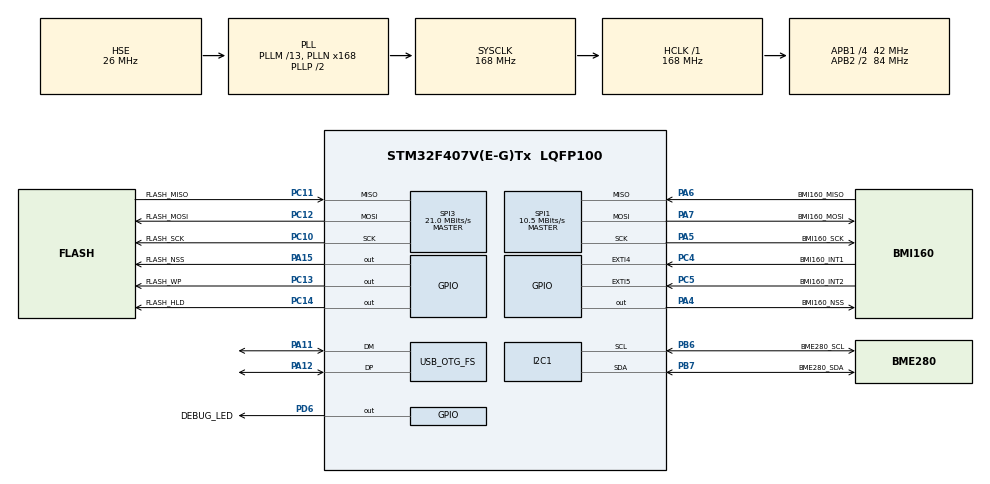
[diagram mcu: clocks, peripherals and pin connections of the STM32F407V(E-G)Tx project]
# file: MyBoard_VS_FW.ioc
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FREERTOS.INCLUDE_uxTaskGetStackHighWaterMark2=0
FREERTOS.Tasks01=usbTask,24,256,StartUsbTask,Default,NULL,Dynamic,NULL,NULL;bmi160Task,24,256,StartBmi160Task,Default,NULL,Dynamic,NULL,NULL;bme280Task,24,256,StartBme280Task,Default,NULL,Dynamic,NULL,NULL;ledTask,8,128,StartLedTask,Default,NULL,Dynamic,NULL,NULL;dataLoggerTask,24,512,StartDataLoggerTask,Default,NULL,Dynamic,NULL,NULL;monitorTask,24,128,StartMonitorTaskTask,Default,NULL,Dynamic,NULL,NULL
FREERTOS.configCHECK_FOR_STACK_OVERFLOW=2
FREERTOS.configENABLE_FPU=1
FREERTOS.configGENERATE_RUN_TIME_STATS=1
FREERTOS.configRECORD_STACK_HIGH_ADDRESS=1
FREERTOS.configUSE_IDLE_HOOK=1
FREERTOS.configUSE_MALLOC_FAILED_HOOK=1
FREERTOS.configUSE_NEWLIB_REENTRANT=1
FREERTOS.configUSE_STATS_FORMATTING_FUNCTIONS=1
Mcu.Family=STM32F4
Mcu.Name=STM32F407V(E-G)Tx
Mcu.Package=LQFP100
NVIC.EXTI4_IRQn=true\:5\:0\:false\:false\:true\:false\:true\:true\:true
NVIC.OTG_FS_IRQn=true\:5\:0\:false\:false\:true\:true\:false\:true\:true
NVIC.PriorityGroup=NVIC_PRIORITYGROUP_4
NVIC.RTC_WKUP_IRQn=true\:5\:0\:false\:false\:true\:true\:true\:true\:true
NVIC.TIM1_TRG_COM_TIM11_IRQn=true\:5\:0\:false\:false\:true\:true\:true\:true\:true
NVIC.TIM5_IRQn=true\:15\:0\:false\:false\:true\:false\:false\:true\:true
NVIC.TimeBase=TIM5_IRQn
NVIC.TimeBaseIP=TIM5
PA11.Mode=Device_Only
PA11.Signal=USB_OTG_FS_DM
PA12.Mode=Device_Only
PA12.Signal=USB_OTG_FS_DP
PA13.Mode=Trace_Asynchronous_SW
PA13.Signal=SYS_JTMS-SWDIO
PA14.Mode=Trace_Asynchronous_SW
PA14.Signal=SYS_JTCK-SWCLK
PA15.GPIO_Label=FLASH_NSS
PA15.Signal=GPIO_Output
PA4.GPIO_Label=BMI160_NSS
PA4.GPIO_PuPd=GPIO_NOPULL
PA4.Signal=GPIO_Output
PA5.GPIO_Label=BMI160_SCK
PA5.Mode=Full_Duplex_Master
PA5.Signal=SPI1_SCK
PA6.GPIO_Label=BMI160_MISO
PA6.Mode=Full_Duplex_Master
PA6.Signal=SPI1_MISO
PA7.GPIO_Label=BMI160_MOSI
PA7.Mode=Full_Duplex_Master
PA7.Signal=SPI1_MOSI
PB3.Mode=Trace_Asynchronous_SW
PB3.Signal=SYS_JTDO-SWO
PB6.GPIO_Label=BME280_SCL
PB6.GPIO_Pu=GPIO_PULLUP
PB6.Mode=I2C
PB6.Signal=I2C1_SCL
PB7.GPIO_Label=BME280_SDA
PB7.GPIO_Pu=GPIO_PULLUP
PB7.Mode=I2C
PB7.Signal=I2C1_SDA
PC10.GPIO_Label=FLASH_SCK
PC10.Mode=Full_Duplex_Master
PC10.Signal=SPI3_SCK
PC11.GPIO_Label=FLASH_MISO
PC11.Mode=Full_Duplex_Master
PC11.Signal=SPI3_MISO
PC12.GPIO_Label=FLASH_MOSI
PC12.Mode=Full_Duplex_Master
PC12.Signal=SPI3_MOSI
PC13-ANTI_TAMP.GPIO_Label=FLASH_WP
PC13-ANTI_TAMP.Signal=GPIO_Output
PC14-OSC32_IN.GPIO_Label=FLASH_HLD
PC14-OSC32_IN.Signal=GPIO_Output
PC4.GPIO_Label=BMI160_INT1
PC4.GPIO_PuPd=GPIO_PULLDOWN
PC4.Signal=GPXTI4
PC5.GPIO_Label=BMI160_INT2
PC5.GPIO_PuPd=GPIO_PULLDOWN
PC5.Signal=GPXTI5
PD6.GPIO_Label=DEBUG_LED
PD6.GPIO_PuPd=GPIO_NOPULL
PD6.Signal=GPIO_Output
PH0-OSC_IN.Mode=HSE-External-Oscillator
PH0-OSC_IN.Signal=RCC_OSC_IN
PH1-OSC_OUT.Mode=HSE-External-Oscillator
PH1-OSC_OUT.Signal=RCC_OSC_OUT
ProjectManager.HeapSize=0x200
ProjectManager.StackSize=0x400
ProjectManager.TargetToolchain=CMake
RCC.48MHZClocksFreq_Value=48000000
RCC.AHBFreq_Value=168000000
RCC.APB1CLKDivider=RCC_HCLK_DIV4
RCC.APB1Freq_Value=42000000
RCC.APB1TimFreq_Value=84000000
RCC.APB2CLKDivider=RCC_HCLK_DIV2
RCC.APB2Freq_Value=84000000
RCC.APB2TimFreq_Value=168000000
RCC.CortexFreq_Value=168000000
RCC.HCLKFreq_Value=168000000
RCC.HSE_VALUE=26000000
RCC.HSI_VALUE=16000000
RCC.LSE_VALUE=32768
RCC.PLLM=13
RCC.PLLN=168
RCC.PLLQ=7
RCC.SYSCLKFreq_VALUE=168000000
RCC.SYSCLKSource=RCC_SYSCLKSOURCE_PLLCLK
RCC.VCOOutputFreq_Value=336000000
RTC.WakeUpClock=RTC_WAKEUPCLOCK_CK_SPRE_16BITS
RTC.WakeUpCounter=600
SPI1.BaudRatePrescaler=SPI_BAUDRATEPRESCALER_8
SPI1.CalculateBaudRate=10.5 MBits/s
SPI1.Direction=SPI_DIRECTION_2LINES
SPI1.Mode=SPI_MODE_MASTER
SPI1.VirtualType=VM_MASTER
SPI3.BaudRatePrescaler=SPI_BAUDRATEPRESCALER_2
SPI3.CalculateBaudRate=21.0 MBits/s
SPI3.Direction=SPI_DIRECTION_2LINES
SPI3.Mode=SPI_MODE_MASTER
SPI3.VirtualType=VM_MASTER
TIM11.AutoReloadPreload=TIM_AUTORELOAD_PRELOAD_ENABLE
TIM11.Period=99
TIM11.Prescaler=167
TIM8.Prescaler=83
USB_DEVICE.CLASS_NAME_FS=CDC
USB_DEVICE.USBD_DEBUG_LEVEL-CDC_FS=3
USB_DEVICE.VirtualMode-CDC_FS=Cdc
USB_DEVICE.VirtualModeFS=Cdc_FS
USB_OTG_FS.VirtualMode=Device_Only
VP_FREERTOS_VS_CMSIS_V2.Mode=CMSIS_V2
VP_RTC_VS_RTC_Activate.Mode=RTC_Enabled
VP_RTC_VS_RTC_WakeUp_intern.Mode=WakeUp
VP_SYS_VS_tim5.Mode=TIM5
VP_TIM11_VS_ClockSourceINT.Mode=Enable_Timer
VP_TIM8_VS_ClockSourceINT.Mode=Internal
VP_USB_DEVICE_VS_USB_DEVICE_CDC_FS.Mode=CDC_FS
board=custom

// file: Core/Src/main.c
/* USER CODE BEGIN Header */
/* USER CODE END Header */
#include "main.h"
#include "cmsis_os.h"

/* USER CODE BEGIN Includes */
#include "usb_device.h"
#include "usbd_cdc_if.h"
#include "bmi160.h"
#include "bmi160_wrappers.h"
#include "bme280.h"
#include "bme280_wrappers.h"
#include "w25q128jv.h"
#include "lfs.h"
#include "lfs_w25q128.h"
/* USER CODE END Includes */

/* USER CODE BEGIN PTD */
struct bmi160_sensor_data_real
{
  //Acc
  float ax ;
  float ay ;
  float az ;
  //Gyro
  float gx ;
  float gy ;
  float gz ;
};
/* USER CODE END PTD */

/* USER CODE BEGIN PD */
#define LOG_INTERVAL  UINT16_C(25)
/* USER CODE END PD */

I2C_HandleTypeDef hi2c1;

RTC_HandleTypeDef hrtc;

SPI_HandleTypeDef hspi1;
SPI_HandleTypeDef hspi3;

TIM_HandleTypeDef htim8;
TIM_HandleTypeDef htim11;

/* Definitions for usbTask */
osThreadId_t usbTaskHandle;
const osThreadAttr_t usbTask_attributes = {
  .name = "usbTask",
  .stack_size = 256 * 4,
  .priority = (osPriority_t) osPriorityNormal,
};
/* Definitions for bmi160Task */
osThreadId_t bmi160TaskHandle;
const osThreadAttr_t bmi160Task_attributes = {
  .name = "bmi160Task",
  .stack_size = 256 * 4,
  .priority = (osPriority_t) osPriorityNormal,
};
/* Definitions for bme280Task */
osThreadId_t bme280TaskHandle;
const osThreadAttr_t bme280Task_attributes = {
  .name = "bme280Task",
  .stack_size = 256 * 4,
  .priority = (osPriority_t) osPriorityNormal,
};
/* Definitions for ledTask */
osThreadId_t ledTaskHandle;
const osThreadAttr_t ledTask_attributes = {
  .name = "ledTask",
  .stack_size = 128 * 4,
  .priority = (osPriority_t) osPriorityLow,
};
/* Definitions for dataLoggerTask */
osThreadId_t dataLoggerTaskHandle;
const osThreadAttr_t dataLoggerTask_attributes = {
  .name = "dataLoggerTask",
  .stack_size = 512 * 4,
  .priority = (osPriority_t) osPriorityNormal,
};
/* Definitions for monitorTask */
osThreadId_t monitorTaskHandle;
const osThreadAttr_t monitorTask_attributes = {
  .name = "monitorTask",
  .stack_size = 128 * 4,
  .priority = (osPriority_t) osPriorityNormal,
};
/* USER CODE BEGIN PV */
/*! Timer for freertos task profiling */
volatile unsigned long ulHighFrequencyTimerTicks = 0;

uint8_t u8LedActivity = 0;

struct bmi160_dev bmi160;
struct bmi160_sensor_data_real accel_gyro;

struct bme280_dev bme280;
struct bme280_settings settings;
struct bme280_data comp_data;

struct w25q128jv_dev w25q128jv;

// variables used by the filesystem
extern const struct lfs_config cfg;
lfs_t lfs;

uint8_t closeFilesRequest = 0;
/* USER CODE END PV */

void SystemClock_Config(void);
static void MX_GPIO_Init(void);
static void MX_I2C1_Init(void);
static void MX_SPI1_Init(void);
static void MX_SPI3_Init(void);
static void MX_TIM11_Init(void);
static void MX_TIM8_Init(void);
static void MX_RTC_Init(void);
void StartUsbTask(void *argument);
void StartBmi160Task(void *argument);
void StartBme280Task(void *argument);
void StartLedTask(void *argument);
void StartDataLoggerTask(void *argument);
void StartMonitorTaskTask(void *argument);

/* USER CODE BEGIN PFP */
static uint8_t bme280_get_data(uint32_t period, struct bme280_dev *dev);
static uint8_t bmi160_get_data(uint8_t select_sensor, struct bmi160_sensor_data_real *accel_gyro, const struct bmi160_dev *dev);
/* USER CODE END PFP */

/* USER CODE BEGIN 0 */

int _write(int file, char *ptr, int len)
{
  CDC_Transmit_FS((uint8_t *)ptr, len);  // Send data via USB CDC
  return len;
}

/*!
 *  @brief This internal API is used to get compensated humidity data.
 */
static uint8_t bme280_get_data(uint32_t period, struct bme280_dev *dev)
{
    uint8_t rslt = BME280_E_NULL_PTR;
    uint8_t status_reg;

    rslt = bme280_get_regs(BME280_REG_STATUS, &status_reg, 1, dev);
    if (status_reg & BME280_STATUS_MEAS_DONE)
    {
        /* Measurement time delay given to read sample */
        dev->delay_us(period);

        /* Read compensated data */
        rslt = bme280_get_sensor_data(BME280_ALL, &comp_data, dev);

#ifndef BME280_DOUBLE_ENABLE
        comp_data.humidity = comp_data.humidity / 1000;
        comp_data.temperature = comp_data.temperature / 100;
#endif
    }

    return rslt;
}

static uint8_t bmi160_get_data(uint8_t select_sensor, struct bmi160_sensor_data_real *accel_gyro, const struct bmi160_dev *dev)
{
  uint8_t rslt = BMI160_E_NULL_PTR;
  struct bmi160_sensor_data accel = {0};
  struct bmi160_sensor_data gyro = {0};

  rslt = bmi160_get_sensor_data(select_sensor, &accel, &gyro, dev);
  if(rslt == BMI160_OK)
  {
    accel_gyro->ax = (float)(accel.x * 9.8) / 16384;
    accel_gyro->ay = (float)(accel.y * 9.8) / 16384;
    accel_gyro->az = (float)(accel.z * 9.8) / 16384;
    accel_gyro->gx = (float)(gyro.x * 2000)/0x8000;
    accel_gyro->gy = (float)(gyro.y * 2000)/0x8000;
    accel_gyro->gz = (float)(gyro.z * 2000)/0x8000;
  }

  return rslt;
}

void HAL_Delay_us(uint32_t us)
{
    uint32_t tickstart = __HAL_TIM_GET_COUNTER(&htim8);  // Get current counter value
    uint32_t wait = us;

    while((__HAL_TIM_GET_COUNTER(&htim8) - tickstart) < wait)
    {
    }
}

static void lfs_static_test(void) {
  int err;
  uint8_t write_buffer[256];
  uint8_t read_buffer[256];

  // Step 1: Mount the filesystem
  err = lfs_mount(&lfs, &cfg);
  if (err) {
      // Step 2: Reformat if mounting fails
      printf("Filesystem mount failed, formatting...\n");
      lfs_format(&lfs, &cfg);
      err = lfs_mount(&lfs, &cfg);
      if (err) {
          printf("Failed to mount filesystem after formatting\n");
          return;
      }
  }
  printf("Filesystem mounted successfully\n");

  // Step 3: Prepare test data
  for (int i = 0; i < 256; i++) {
      write_buffer[i] = i;  // Filling with 0x00, 0x01, ..., 0xFF
  }

  // Step 4: Open the file for writing
  lfs_file_t file;
  err = lfs_file_open(&lfs, &file, "test", LFS_O_RDWR | LFS_O_CREAT);
  if (err < 0) {
      printf("Failed to open file for writing\n");
      return;
  }

  // Step 5: Write 256 bytes to the file
  err = lfs_file_write(&lfs, &file, write_buffer, 256);
  if (err < 0) {
      printf("Failed to write to file\n");
      lfs_file_close(&lfs, &file);
      return;
  }

  // Step 6: Close the file
  err = lfs_file_close(&lfs, &file);
  if (err < 0) {
      printf("Failed to close file\n");
      return;
  }

  printf("Data written successfully\n");

  // Step 7: Open the file for reading
  err = lfs_file_open(&lfs, &file, "test", LFS_O_RDONLY);
  if (err < 0) {
      printf("Failed to open file for reading\n");
      return;
  }

  // Step 8: Read 256 bytes from the file
  memset(read_buffer, 0, sizeof(read_buffer)); // Clear buffer
  err = lfs_file_read(&lfs, &file, read_buffer, 256);
  if (err < 0) {
      printf("Failed to read from file\n");
      lfs_file_close(&lfs, &file);
      return;
  }

  // Step 9: Compare read data with written data
  if (memcmp(write_buffer, read_buffer, 256) == 0) {
      printf("Data verification successful: Read matches written data\n");
  } else {
      printf("Data mismatch: Read data is different from written data!\n");
  }

  // Step 10: Close the file
  err = lfs_file_close(&lfs, &file);
  if (err < 0) {
      printf("Failed to close file after reading\n");
      return;
  }

  // Step 11: Delete (remove) the file
  err = lfs_remove(&lfs, "test");
  if (err < 0) {
      printf("Failed to delete file\n");
      return;
  }

  printf("File deleted successfully\n");

  // Step 12: Try to open the deleted file (should fail)
  err = lfs_file_open(&lfs, &file, "test", LFS_O_RDONLY);
  if (err < 0) {
      printf("File correctly does not exist after deletion\n");
  } else {
      printf("Error: File still exists after deletion!\n");
      lfs_file_close(&lfs, &file);
  }

  // Step 13: Unmount the filesystem
  err = lfs_unmount(&lfs);
  if (err < 0) {
      printf("Failed to unmount filesystem\n");
      return;
  }

  printf("Filesystem unmounted successfully\n");
}

void enter_standby_mode(void)
{
  // Stop all tasks (except Idle task)
  vTaskSuspendAll();

  // Disable Peripherals
  HAL_GPIO_WritePin(DEBUG_LED_GPIO_Port, DEBUG_LED_Pin, GPIO_PIN_RESET);
  HAL_SPI_DeInit(&hspi1);
  HAL_SPI_DeInit(&hspi3);
  HAL_I2C_DeInit(&hi2c1);

  // Clear any wakeup flag
  __HAL_PWR_CLEAR_FLAG(PWR_FLAG_WU);

  HAL_RTCEx_SetWakeUpTimer_IT(&hrtc, (60 *5), RTC_WAKEUPCLOCK_CK_SPRE_16BITS);

  // Enter Standby mode
  HAL_PWR_EnterSTANDBYMode();
}

/**
  * @brief  Wakeup Timer callback.
  * @param  hrtc pointer to a RTC_HandleTypeDef structure that contains
  *                the configuration information for RTC.
  * @retval None
  */
 void HAL_RTCEx_WakeUpTimerEventCallback(RTC_HandleTypeDef *hrtc)
 {
   /* Prevent unused argument(s) compilation warning */
   UNUSED(hrtc);

   __HAL_RTC_WAKEUPTIMER_CLEAR_FLAG(hrtc, RTC_FLAG_WUTF);  // Clear RTC wakeup flag
    HAL_RTCEx_DeactivateWakeUpTimer(hrtc);  // Stop wakeup timer (optional)
   printf("System woke up from Standby or Stop mode.\n");
 }

 void read_and_send_file(const char *filename)
 {
  int err;
  char buffer[128];  // Buffer to hold the data read from the file
  int bytes_read;
  lfs_file_t file;

  // Mount the filesystem (if not already mounted)
  err = lfs_mount(&lfs, &cfg);
  if (err < 0) {
      printf("Error mounting filesystem\n");
      fflush(stdout);
      return;
  }

  // Open the file in read-only mode
  err = lfs_file_open(&lfs, &file, filename, LFS_O_RDONLY);
  if (err < 0) {
      printf("Error opening file %s\n", filename);
      fflush(stdout);
      return;
  }

  // Read the file contents
  while ((bytes_read = lfs_file_read(&lfs, &file, buffer, sizeof(buffer))) > 0) {
      // Print data efficiently
      fwrite(buffer, 1, bytes_read, stdout);
      fflush(stdout);  // Ensure immediate output
  }

  // Check if there was an error while reading
  if (bytes_read < 0) {
      printf("Error reading file\n");
      fflush(stdout);
  }

  // Close the file
  lfs_file_close(&lfs, &file);
  lfs_unmount(&lfs);
}

/* USER CODE END 0 */

int main(void)
{

  /* MCU Configuration--------------------------------------------------------*/

  /* Reset of all peripherals, Initializes the Flash interface and the Systick. */
  HAL_Init();

  /* Configure the system clock */
  SystemClock_Config();

  /* Initialize all configured peripherals */
  MX_GPIO_Init();
  MX_I2C1_Init();
  MX_SPI1_Init();
  MX_SPI3_Init();
  MX_TIM11_Init();
  MX_TIM8_Init();
  MX_RTC_Init();
  /* USER CODE BEGIN 2 */
  MX_USB_DEVICE_Init();
  HAL_Delay(1000); // Wait 1 second before printing
  printf("System Started...\n");
  W25Q128JV_interface_Init(&w25q128jv, &hspi3, FLASH_NSS_GPIO_Port, FLASH_NSS_Pin, FLASH_WP_GPIO_Port, FLASH_WP_Pin, FLASH_HLD_GPIO_Port, FLASH_HLD_Pin);
  W25Q128JV_Init(&w25q128jv);
  W25Q128JV_ReadJedecID(&w25q128jv);
  W25Q128JV_ReadUniqueID(&w25q128jv);

  // Read the file and send its contents to the terminal
  printf("Downloading file bmi160_data\n");
  read_and_send_file("bmi160_data");
  printf("Finished Downloading file bmi160_data\n");
  // Read the file and send its contents to the terminal
  printf("Downloading file bmi280_data\n");
  read_and_send_file("bme280_data");
  printf("Finished Downloading file bmi280_data\n");
  //lfs_format(&lfs, &cfg);
  /* USER CODE END 2 */

  /* Init scheduler */
  osKernelInitialize();

  /* Create the thread(s) */
  /* creation of usbTask */
  usbTaskHandle = osThreadNew(StartUsbTask, NULL, &usbTask_attributes);

  /* creation of bmi160Task */
  bmi160TaskHandle = osThreadNew(StartBmi160Task, NULL, &bmi160Task_attributes);

  /* creation of bme280Task */
  bme280TaskHandle = osThreadNew(StartBme280Task, NULL, &bme280Task_attributes);

  /* creation of ledTask */
  ledTaskHandle = osThreadNew(StartLedTask, NULL, &ledTask_attributes);

  /* creation of dataLoggerTask */
  dataLoggerTaskHandle = osThreadNew(StartDataLoggerTask, NULL, &dataLoggerTask_attributes);

  /* creation of monitorTask */
  monitorTaskHandle = osThreadNew(StartMonitorTaskTask, NULL, &monitorTask_attributes);

  /* Start scheduler */
  osKernelStart();

  /* We should never get here as control is now taken by the scheduler */

  /* Infinite loop */

}

void SystemClock_Config(void)
{
  RCC_OscInitTypeDef RCC_OscInitStruct = {0};
  RCC_ClkInitTypeDef RCC_ClkInitStruct = {0};

  /** Configure the main internal regulator output voltage
  */
  __HAL_RCC_PWR_CLK_ENABLE();
  __HAL_PWR_VOLTAGESCALING_CONFIG(PWR_REGULATOR_VOLTAGE_SCALE1);

  /** Initializes the RCC Oscillators according to the specified parameters
  * in the RCC_OscInitTypeDef structure.
  */
  RCC_OscInitStruct.OscillatorType = RCC_OSCILLATORTYPE_LSI|RCC_OSCILLATORTYPE_HSE;
  RCC_OscInitStruct.HSEState = RCC_HSE_ON;
  RCC_OscInitStruct.LSIState = RCC_LSI_ON;
  RCC_OscInitStruct.PLL.PLLState = RCC_PLL_ON;
  RCC_OscInitStruct.PLL.PLLSource = RCC_PLLSOURCE_HSE;
  RCC_OscInitStruct.PLL.PLLM = 13;
  RCC_OscInitStruct.PLL.PLLN = 168;
  RCC_OscInitStruct.PLL.PLLP = RCC_PLLP_DIV2;
  RCC_OscInitStruct.PLL.PLLQ = 7;
  if (HAL_RCC_OscConfig(&RCC_OscInitStruct) != HAL_OK)
  {
    Error_Handler();
  }

  /** Initializes the CPU, AHB and APB buses clocks
  */
  RCC_ClkInitStruct.ClockType = RCC_CLOCKTYPE_HCLK|RCC_CLOCKTYPE_SYSCLK
                              |RCC_CLOCKTYPE_PCLK1|RCC_CLOCKTYPE_PCLK2;
  RCC_ClkInitStruct.SYSCLKSource = RCC_SYSCLKSOURCE_PLLCLK;
  RCC_ClkInitStruct.AHBCLKDivider = RCC_SYSCLK_DIV1;
  RCC_ClkInitStruct.APB1CLKDivider = RCC_HCLK_DIV4;
  RCC_ClkInitStruct.APB2CLKDivider = RCC_HCLK_DIV2;

  if (HAL_RCC_ClockConfig(&RCC_ClkInitStruct, FLASH_LATENCY_5) != HAL_OK)
  {
    Error_Handler();
  }
}

static void MX_I2C1_Init(void)
{

  hi2c1.Instance = I2C1;
  hi2c1.Init.ClockSpeed = 100000;
  hi2c1.Init.DutyCycle = I2C_DUTYCYCLE_2;
  hi2c1.Init.OwnAddress1 = 0;
  hi2c1.Init.AddressingMode = I2C_ADDRESSINGMODE_7BIT;
  hi2c1.Init.DualAddressMode = I2C_DUALADDRESS_DISABLE;
  hi2c1.Init.OwnAddress2 = 0;
  hi2c1.Init.GeneralCallMode = I2C_GENERALCALL_DISABLE;
  hi2c1.Init.NoStretchMode = I2C_NOSTRETCH_DISABLE;
  if (HAL_I2C_Init(&hi2c1) != HAL_OK)
  {
    Error_Handler();
  }

}

static void MX_RTC_Init(void)
{

  RTC_TimeTypeDef sTime = {0};
  RTC_DateTypeDef sDate = {0};

  /** Initialize RTC Only
  */
  hrtc.Instance = RTC;
  hrtc.Init.HourFormat = RTC_HOURFORMAT_24;
  hrtc.Init.AsynchPrediv = 127;
  hrtc.Init.SynchPrediv = 255;
  hrtc.Init.OutPut = RTC_OUTPUT_DISABLE;
  hrtc.Init.OutPutPolarity = RTC_OUTPUT_POLARITY_HIGH;
  hrtc.Init.OutPutType = RTC_OUTPUT_TYPE_OPENDRAIN;
  if (HAL_RTC_Init(&hrtc) != HAL_OK)
  {
    Error_Handler();
  }

  /** Initialize RTC and set the Time and Date
  */
  sTime.Hours = 0x0;
  sTime.Minutes = 0x0;
  sTime.Seconds = 0x0;
  sTime.DayLightSaving = RTC_DAYLIGHTSAVING_NONE;
  sTime.StoreOperation = RTC_STOREOPERATION_RESET;
  if (HAL_RTC_SetTime(&hrtc, &sTime, RTC_FORMAT_BCD) != HAL_OK)
  {
    Error_Handler();
  }
  sDate.WeekDay = RTC_WEEKDAY_MONDAY;
  sDate.Month = RTC_MONTH_JANUARY;
  sDate.Date = 0x1;
  sDate.Year = 0x0;

  if (HAL_RTC_SetDate(&hrtc, &sDate, RTC_FORMAT_BCD) != HAL_OK)
  {
    Error_Handler();
  }

  /** Enable the WakeUp
  */
  if (HAL_RTCEx_SetWakeUpTimer_IT(&hrtc, 600, RTC_WAKEUPCLOCK_CK_SPRE_16BITS) != HAL_OK)
  {
    Error_Handler();
  }
  /* USER CODE BEGIN RTC_Init 2 */
  HAL_RTCEx_DeactivateWakeUpTimer(&hrtc);
  /* USER CODE END RTC_Init 2 */

}

static void MX_SPI1_Init(void)
{

  /* SPI1 parameter configuration*/
  hspi1.Instance = SPI1;
  hspi1.Init.Mode = SPI_MODE_MASTER;
  hspi1.Init.Direction = SPI_DIRECTION_2LINES;
  hspi1.Init.DataSize = SPI_DATASIZE_8BIT;
  hspi1.Init.CLKPolarity = SPI_POLARITY_LOW;
  hspi1.Init.CLKPhase = SPI_PHASE_1EDGE;
  hspi1.Init.NSS = SPI_NSS_SOFT;
  hspi1.Init.BaudRatePrescaler = SPI_BAUDRATEPRESCALER_8;
  hspi1.Init.FirstBit = SPI_FIRSTBIT_MSB;
  hspi1.Init.TIMode = SPI_TIMODE_DISABLE;
  hspi1.Init.CRCCalculation = SPI_CRCCALCULATION_DISABLE;
  hspi1.Init.CRCPolynomial = 10;
  if (HAL_SPI_Init(&hspi1) != HAL_OK)
  {
    Error_Handler();
  }

}

static void MX_SPI3_Init(void)
{

  /* SPI3 parameter configuration*/
  hspi3.Instance = SPI3;
  hspi3.Init.Mode = SPI_MODE_MASTER;
  hspi3.Init.Direction = SPI_DIRECTION_2LINES;
  hspi3.Init.DataSize = SPI_DATASIZE_8BIT;
  hspi3.Init.CLKPolarity = SPI_POLARITY_LOW;
  hspi3.Init.CLKPhase = SPI_PHASE_1EDGE;
  hspi3.Init.NSS = SPI_NSS_SOFT;
  hspi3.Init.BaudRatePrescaler = SPI_BAUDRATEPRESCALER_2;
  hspi3.Init.FirstBit = SPI_FIRSTBIT_MSB;
  hspi3.Init.TIMode = SPI_TIMODE_DISABLE;
  hspi3.Init.CRCCalculation = SPI_CRCCALCULATION_DISABLE;
  hspi3.Init.CRCPolynomial = 10;
  if (HAL_SPI_Init(&hspi3) != HAL_OK)
  {
    Error_Handler();
  }

}

static void MX_TIM8_Init(void)
{

  TIM_ClockConfigTypeDef sClockSourceConfig = {0};
  TIM_MasterConfigTypeDef sMasterConfig = {0};

  htim8.Instance = TIM8;
  htim8.Init.Prescaler = 83;
  htim8.Init.CounterMode = TIM_COUNTERMODE_UP;
  htim8.Init.Period = 65535;
  htim8.Init.ClockDivision = TIM_CLOCKDIVISION_DIV1;
  htim8.Init.RepetitionCounter = 0;
  htim8.Init.AutoReloadPreload = TIM_AUTORELOAD_PRELOAD_DISABLE;
  if (HAL_TIM_Base_Init(&htim8) != HAL_OK)
  {
    Error_Handler();
  }
  sClockSourceConfig.ClockSource = TIM_CLOCKSOURCE_INTERNAL;
  if (HAL_TIM_ConfigClockSource(&htim8, &sClockSourceConfig) != HAL_OK)
  {
    Error_Handler();
  }
  sMasterConfig.MasterOutputTrigger = TIM_TRGO_RESET;
  sMasterConfig.MasterSlaveMode = TIM_MASTERSLAVEMODE_DISABLE;
  if (HAL_TIMEx_MasterConfigSynchronization(&htim8, &sMasterConfig) != HAL_OK)
  {
    Error_Handler();
  }
  /* USER CODE BEGIN TIM8_Init 2 */
  HAL_TIM_Base_Start(&htim8);
  /* USER CODE END TIM8_Init 2 */

}

static void MX_TIM11_Init(void)
{

  htim11.Instance = TIM11;
  htim11.Init.Prescaler = 167;
  htim11.Init.CounterMode = TIM_COUNTERMODE_UP;
  htim11.Init.Period = 99;
  htim11.Init.ClockDivision = TIM_CLOCKDIVISION_DIV1;
  htim11.Init.AutoReloadPreload = TIM_AUTORELOAD_PRELOAD_ENABLE;
  if (HAL_TIM_Base_Init(&htim11) != HAL_OK)
  {
    Error_Handler();
  }
  /* USER CODE BEGIN TIM11_Init 2 */
  HAL_NVIC_SetPriority(TIM1_TRG_COM_TIM11_IRQn, 5, 0);
  HAL_NVIC_EnableIRQ(TIM1_TRG_COM_TIM11_IRQn);
  /* USER CODE END TIM11_Init 2 */

}

static void MX_GPIO_Init(void)
{
  GPIO_InitTypeDef GPIO_InitStruct = {0};

  /* GPIO Ports Clock Enable */
  __HAL_RCC_GPIOC_CLK_ENABLE();
  __HAL_RCC_GPIOH_CLK_ENABLE();
  __HAL_RCC_GPIOA_CLK_ENABLE();
  __HAL_RCC_GPIOD_CLK_ENABLE();
  __HAL_RCC_GPIOB_CLK_ENABLE();

  /*Configure GPIO pin Output Level */
  HAL_GPIO_WritePin(GPIOC, FLASH_WP_Pin|FLASH_HLD_Pin, GPIO_PIN_RESET);

  /*Configure GPIO pin Output Level */
  HAL_GPIO_WritePin(GPIOA, BMI160_NSS_Pin|FLASH_NSS_Pin, GPIO_PIN_RESET);

  /*Configure GPIO pin Output Level */
  HAL_GPIO_WritePin(DEBUG_LED_GPIO_Port, DEBUG_LED_Pin, GPIO_PIN_RESET);

  /*Configure GPIO pins : FLASH_WP_Pin FLASH_HLD_Pin */
  GPIO_InitStruct.Pin = FLASH_WP_Pin|FLASH_HLD_Pin;
  GPIO_InitStruct.Mode = GPIO_MODE_OUTPUT_PP;
  GPIO_InitStruct.Pull = GPIO_NOPULL;
  GPIO_InitStruct.Speed = GPIO_SPEED_FREQ_LOW;
  HAL_GPIO_Init(GPIOC, &GPIO_InitStruct);

  /*Configure GPIO pins : BMI160_NSS_Pin FLASH_NSS_Pin */
  GPIO_InitStruct.Pin = BMI160_NSS_Pin|FLASH_NSS_Pin;
  GPIO_InitStruct.Mode = GPIO_MODE_OUTPUT_PP;
  GPIO_InitStruct.Pull = GPIO_NOPULL;
  GPIO_InitStruct.Speed = GPIO_SPEED_FREQ_LOW;
  HAL_GPIO_Init(GPIOA, &GPIO_InitStruct);

  /*Configure GPIO pins : BMI160_INT1_Pin BMI160_INT2_Pin */
  GPIO_InitStruct.Pin = BMI160_INT1_Pin|BMI160_INT2_Pin;
  GPIO_InitStruct.Mode = GPIO_MODE_IT_RISING;
  GPIO_InitStruct.Pull = GPIO_PULLDOWN;
  HAL_GPIO_Init(GPIOC, &GPIO_InitStruct);

  /*Configure GPIO pin : DEBUG_LED_Pin */
  GPIO_InitStruct.Pin = DEBUG_LED_Pin;
  GPIO_InitStruct.Mode = GPIO_MODE_OUTPUT_PP;
  GPIO_InitStruct.Pull = GPIO_NOPULL;
  GPIO_InitStruct.Speed = GPIO_SPEED_FREQ_LOW;
  HAL_GPIO_Init(DEBUG_LED_GPIO_Port, &GPIO_InitStruct);

  /* EXTI interrupt init*/
  HAL_NVIC_SetPriority(EXTI4_IRQn, 5, 0);
  HAL_NVIC_EnableIRQ(EXTI4_IRQn);

}

void StartUsbTask(void *argument)
{
  /* USER CODE BEGIN 5 */
  UNUSED(argument);
  /* Infinite loop */
  for(;;)
  {
    //printf("Temp: %.2fdC, Pressure: %.2fhPa, Humidity: %.2f%%\n",
    //        (float)comp_data.temperature, (float)comp_data.pressure / 100.0, (float)comp_data.humidity);
    //printf("Accel (g): X=%.2f Y=%.2f Z=%.2f | Gyro (d/s): X=%.2f Y=%.2f Z=%.2f\n",
    //       accel_gyro.ax, accel_gyro.ay, accel_gyro.az, accel_gyro.gx, accel_gyro.gy, accel_gyro.gz);
    osDelay(500);
  }
  /* USER CODE END 5 */
}

void StartBmi160Task(void *argument)
{
  /* USER CODE BEGIN StartBmi160Task */
  uint8_t rslt = 0;

  UNUSED(argument);
  rslt =  bmi160_interface_init(&bmi160, &hspi1, BMI160_NSS_GPIO_Port, BMI160_NSS_Pin);
  rslt += bmi160_init(&bmi160);

  bmi160.accel_cfg.bw     = BMI160_ACCEL_BW_NORMAL_AVG4;
  bmi160.accel_cfg.odr    = BMI160_ACCEL_ODR_100HZ;
  bmi160.accel_cfg.range  = BMI160_ACCEL_RANGE_2G;
  bmi160.accel_cfg.power  = BMI160_ACCEL_NORMAL_MODE;

  bmi160.gyro_cfg.bw      = BMI160_GYRO_BW_NORMAL_MODE;
  bmi160.gyro_cfg.odr     = BMI160_GYRO_ODR_100HZ;
  bmi160.gyro_cfg.range   = BMI160_GYRO_RANGE_2000_DPS;
  bmi160.gyro_cfg.power   = BMI160_GYRO_NORMAL_MODE;

  rslt += bmi160_set_sens_conf(&bmi160);
  rslt += bmi160_get_sens_conf(&bmi160);
  rslt += bmi160_get_power_mode(&bmi160);
  if (rslt)
  {
    printf("BMI160 initialization failed with error code %i\n", rslt);
  }
  else
  {
    printf("BMI160 initialization succeeded\n");
  }

  /* Infinite loop */
  for(;;)
  {
    if(rslt == BMI160_OK)
    {
      bmi160_get_data(BMI160_BOTH_ACCEL_AND_GYRO|BMI160_TIME_SEL, &accel_gyro, &bmi160);
    }
    else
    {
      Error_Handler();
    }

    osDelay(1000);
  }
  /* USER CODE END StartBmi160Task */
}

void StartBme280Task(void *argument)
{
  /* USER CODE BEGIN StartBme280Task */
  uint8_t rslt = 0;
  uint32_t period;

  UNUSED(argument);
  bme280.dma_reading_trig = 0;
  bme280.dma_reading_req = 0;
  rslt = bme280_interface_init(&bme280, &hi2c1);
  rslt +=bme280_init(&bme280);
  rslt += bme280_get_sensor_settings(&settings, &bme280);
  /* Configuring the over-sampling rate, filter coefficient and standby time */
  /* Overwrite the desired settings */
  settings.filter = BME280_FILTER_COEFF_8;

  /* Over-sampling rate for humidity, temperature and pressure */
  settings.osr_h = BME280_OVERSAMPLING_8X;
  settings.osr_p = BME280_OVERSAMPLING_8X;
  settings.osr_t = BME280_OVERSAMPLING_8X;

  /* Setting the standby time */
  settings.standby_time = BME280_STANDBY_TIME_500_MS;

  rslt += bme280_set_sensor_settings(BME280_SEL_ALL_SETTINGS, &settings, &bme280);

  /* Always set the power mode after setting the configuration */
  rslt += bme280_set_sensor_mode(BME280_POWERMODE_NORMAL, &bme280);
  rslt += bme280_cal_meas_delay(&period, &settings);
  if (rslt)
  {
    printf("BME280 initialization failed with error code %i\n", rslt);
  }
  else
  {
    printf("BME280 initialization succeeded\n");
  }

  /* Infinite loop */
  for(;;)
  {
    if(rslt == BMI160_OK)
    {
      bme280_get_data(period, &bme280);
    }
    else
    {
      Error_Handler();
    }

    osDelay(1000);
  }
  /* USER CODE END StartBme280Task */
}

void StartLedTask(void *argument)
{
  /* USER CODE BEGIN StartLedTask */
  UNUSED(argument);
  /* Infinite loop */
  for(;;)
  {
    HAL_GPIO_WritePin(DEBUG_LED_GPIO_Port, DEBUG_LED_Pin, GPIO_PIN_SET);
    osDelay(100);
    HAL_GPIO_WritePin(DEBUG_LED_GPIO_Port, DEBUG_LED_Pin, GPIO_PIN_RESET);

    osDelay(4900);
  }
  /* USER CODE END StartLedTask */
}

void StartDataLoggerTask(void *argument)
{
  /* USER CODE BEGIN StartDataLoggerTask */
  UNUSED(argument);
  lfs_file_t bme280_file;
  lfs_file_t bmi160_file;
  lfs_soff_t file_size;
  uint16_t log_count = 0;
  int err = 0;

  //Mount the filesystem
  err = lfs_mount(&lfs, &cfg);

  if (err)
  {
    // Reformat if mounting fails
    printf("Filesystem mount failed, formatting...\n");
    lfs_format(&lfs, &cfg);
    err = lfs_mount(&lfs, &cfg);
    if (err)
    {
      printf("Failed to mount filesystem after formatting\n");
      Error_Handler();
    }
    else
    {
      printf("Filesystem mounted successfully\n");
    }
  }
  else
  {
    printf("Filesystem mounted successfully\n");
  }

  //Open the files for writing
  err = lfs_file_open(&lfs, &bme280_file, "bme280_data", LFS_O_RDWR | LFS_O_CREAT);
  if (err < 0)
  {
    printf("Failed to open bme280 file for writing\n");
    Error_Handler();
  }
  else
  {
    printf("Succeeded to open bme280 file for writing\n");
  }
  fflush(stdout);
  // Get the file size using lfs_file_size()
  file_size = lfs_file_size(&lfs, &bme280_file);
  printf("bme280 file size:: %ld\n", file_size);
  err = lfs_file_open(&lfs, &bmi160_file, "bmi160_data", LFS_O_RDWR | LFS_O_CREAT);
  if (err < 0)
  {
    printf("Failed to open bmi160 file for writing\n");
    Error_Handler();
  }
  else
  {
    printf("Succeeded to open bmi160 file for writing\n");
  }
  // Get the file size using lfs_file_size()
  file_size = lfs_file_size(&lfs, &bmi160_file);
  printf("bmi160 file size: %ld\n", file_size);
  /* Infinite loop */
  for(;;)
  {
    if (closeFilesRequest == 0)
    {
      // Ensure the file pointer is at the end
      lfs_file_seek(&lfs, &bme280_file, 0, LFS_SEEK_END);
      lfs_file_seek(&lfs, &bmi160_file, 0, LFS_SEEK_END);

      // Write data
      lfs_file_write(&lfs, &bme280_file, (const void *)&comp_data, sizeof(comp_data));
      lfs_file_write(&lfs, &bmi160_file, (const void *)&accel_gyro, sizeof(accel_gyro));

      // Sync the file every LOG_INTERVAL
      if (log_count++ >= LOG_INTERVAL)
      {
        log_count = 0;
        err = 0;//lfs_file_sync(&lfs, &bme280_file);
        if (err < 0)
        {
          printf("Failed to sync bme280 file\n");
          Error_Handler();
        }
        else
        {
          printf("Succeeded to sync bme280 file\n");
          osDelay(5);
        }

        err = 0;//lfs_file_sync(&lfs, &bmi160_file);
        if (err < 0)
        {
          printf("Failed to sync bmi160 file\n");
          Error_Handler();
        }
        else
        {
          printf("Succeeded to sync bmi160 file\n");
          osDelay(5);
        }
      }
    }
    else if (closeFilesRequest == 1)
    {
      closeFilesRequest = 2;
      printf("Closing bme280 file \n");
      err = lfs_file_close(&lfs, &bme280_file);
      if (err < 0)
      {
        printf("Failed to close bme280 file\n");
      }
      else
      {
        printf("Succeded to close bme280 file\n");
      }
      printf("Closing bmi160 file \n");
      err = lfs_file_close(&lfs, &bmi160_file);
      if (err < 0)
      {
        printf("Failed to close bmi160 file\n");
      }
      else
      {
        printf("Succeded to close bmi160 file\n");
      }
    }
    else if (closeFilesRequest == 2)
    {
      closeFilesRequest = 3;
      printf("Unmounting file system\n");
        // Step 13: Unmount the filesystem
      err = lfs_unmount(&lfs);
      if (err < 0)
      {
        printf("Failed to unmount filesystem\n");
      }
      else
      {
        printf("Filesystem unmounted successfully\n");
      }
    }
    else
    {
      /* code */
    }

    osDelay(1000);
  }
  /* USER CODE END StartDataLoggerTask */
}

void StartMonitorTaskTask(void *argument)
{
  /* USER CODE BEGIN StartMonitorTaskTask */
  uint32_t runnigTime = 0;
  /* Infinite loop */
  for(;;)
  {
    // Check if system is running for 30 seconds
    if(runnigTime == 30)
    {
      if(0 == closeFilesRequest)
      {
        printf("Request data logger to close open files...\n");
        closeFilesRequest = 1;
      }
      else if (3 == closeFilesRequest)
      {
        printf("System going into standby mode...\n");
        enter_standby_mode();
      }
      else
      {

      }

    }
    else
    {
      runnigTime++;
    }
    osDelay(1000);
  }
  /* USER CODE END StartMonitorTaskTask */
}

void HAL_TIM_PeriodElapsedCallback(TIM_HandleTypeDef *htim)
{
  if (htim->Instance == TIM5)
  {
    HAL_IncTick();
  }
  /* USER CODE BEGIN Callback 1 */
  if (htim->Instance == TIM11)
  {
    ulHighFrequencyTimerTicks++;
  }
  /* USER CODE END Callback 1 */
}

void Error_Handler(void)
{
  while (1)
  {
  }
}

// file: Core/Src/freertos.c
/* USER CODE BEGIN Header */
/**
  ******************************************************************************
  * File Name          : freertos.c
  * Description        : Code for freertos applications
  ******************************************************************************
  * @attention
  *
  * Copyright (c) 2025 STMicroelectronics.
  * All rights reserved.
  *
  * This software is licensed under terms that can be found in the LICENSE file
  * in the root directory of this software component.
  * If no LICENSE file comes with this software, it is provided AS-IS.
  *
  ******************************************************************************
  */
/* USER CODE END Header */

#include "FreeRTOS.h"
#include "task.h"
#include "main.h"

/* USER CODE BEGIN Variables */
extern TIM_HandleTypeDef htim11;
extern volatile unsigned long ulHighFrequencyTimerTicks;
/* USER CODE END Variables */

/* Hook prototypes */
void configureTimerForRunTimeStats(void);
unsigned long getRunTimeCounterValue(void);
void vApplicationIdleHook(void);
void vApplicationStackOverflowHook(xTaskHandle xTask, signed char *pcTaskName);
void vApplicationMallocFailedHook(void);

/* USER CODE BEGIN 1 */
/* Functions needed when configGENERATE_RUN_TIME_STATS is on */
__weak void configureTimerForRunTimeStats(void)
{
  HAL_TIM_Base_Start_IT(&htim11);
}

__weak unsigned long getRunTimeCounterValue(void)
{
  return ulHighFrequencyTimerTicks;
}
/* USER CODE END 1 */

/* USER CODE BEGIN 2 */
void vApplicationIdleHook( void )
{
   /* vApplicationIdleHook() will only be called if configUSE_IDLE_HOOK is set
   to 1 in FreeRTOSConfig.h. It will be called on each iteration of the idle
   task. It is essential that code added to this hook function never attempts
   to block in any way (for example, call xQueueReceive() with a block time
   specified, or call vTaskDelay()). If the application makes use of the
   vTaskDelete() API function (as this demo application does) then it is also
   important that vApplicationIdleHook() is permitted to return to its calling
   function, because it is the responsibility of the idle task to clean up
   memory allocated by the kernel to any task that has since been deleted. */
}
/* USER CODE END 2 */

/* USER CODE BEGIN 4 */
void vApplicationStackOverflowHook(xTaskHandle xTask, signed char *pcTaskName)
{
   /* Run time stack overflow checking is performed if
   configCHECK_FOR_STACK_OVERFLOW is defined to 1 or 2. This hook function is
   called if a stack overflow is detected. */
  while (1);
}
/* USER CODE END 4 */

/* USER CODE BEGIN 5 */
void vApplicationMallocFailedHook(void)
{
   /* vApplicationMallocFailedHook() will only be called if
   configUSE_MALLOC_FAILED_HOOK is set to 1 in FreeRTOSConfig.h. It is a hook
   function that will get called if a call to pvPortMalloc() fails.
   pvPortMalloc() is called internally by the kernel whenever a task, queue,
   timer or semaphore is created. It is also called by various parts of the
   demo application. If heap_1.c or heap_2.c are used, then the size of the
   heap available to pvPortMalloc() is defined by configTOTAL_HEAP_SIZE in
   FreeRTOSConfig.h, and the xPortGetFreeHeapSize() API function can be used
   to query the size of free heap space that remains (although it does not
   provide information on how the remaining heap might be fragmented). */
  while (1);
}
/* USER CODE END 5 */
